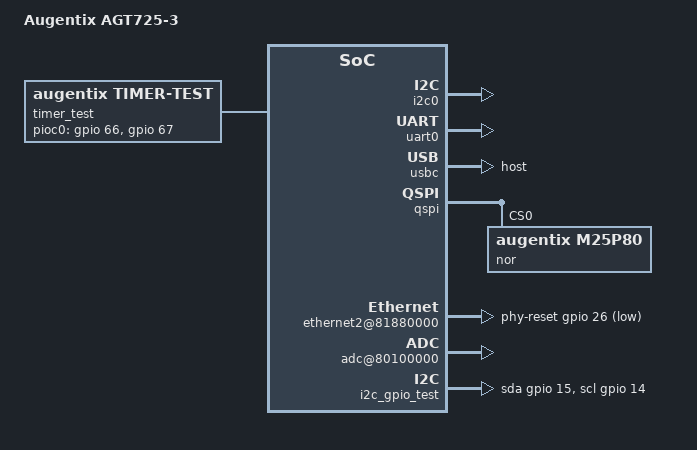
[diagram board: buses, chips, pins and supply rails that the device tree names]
/dts-v1/;
#include "hc1725.dtsi"

/ {
	model = "Augentix AGT725-3";

	augentix_amp: augentix_amp {
		status = "okay";
	};

	soc@80000000 {
		i2c0: i2c@80070000 {
			status = "okay";
		};

		i2c1: i2c@80080000 {
			// status = "okay";
		};

		uart0: uart@80820000 {
			status = "okay";
		};

		sdc0: sdc@818A0000 {
			status = "okay";
		};

		sdc1_p0: sdc1_p0@818C0000 {
			// status = "okay";
		};

		sdc1_p1: sdc1_p1@818C0000 {
			// status = "okay";
		};

		pwm: pwm@80060000 {
			// status = "okay";
		};

		usbc: usbc@A0000000 {
			dr_mode = "host";
			status = "okay";
		};

		usb2_phy: usbphy@0 {
			status = "okay";
		};

		mpp {
			isp@82000000 {
				quality-mode = <0>;
			};

			enc@81001000 {
				bsb-size = <0xC0000 0x40000 0x0 0x0>;
				rd-buf-size = <0x40000>;
				snapshot-size = <0x60000>;
				rd-buf-num = <4>;
			};
		};

		qspi: spi@83610000{
			status = "okay";
			nor@0{
				#address-cells = <1>;
				#size-cells = <1>;
				compatible = "augentix,m25p80", "augentix,spi-nor";
				reg = <0>;
				spi-tx-bus-width = <4>;
				spi-rx-bus-width = <4>;
				m25p,fast-read;
				status = "okay";
			};
		};

		gpio: gpio@80001800 {
			aioc_gpio = <0x0 0x0>;
			pioc0_gpio = <0x0 0x0>;
			pioc1_gpio = <0x0 0x0>;
			pioc2_gpio = <0x0 0x0>;
			mipi_tx_gpio_o_0 = <0x0>;
			status = "okay";
		};

		gpio_test: gpio_test {
			compatible = "augentix,gpio-test";
			aioc-gpios = <&gpio 68 GPIO_ACTIVE_HIGH>;
			pioc0-gpios = <&gpio 0 GPIO_ACTIVE_HIGH>, <&gpio 15 GPIO_ACTIVE_HIGH>, <&gpio 20 GPIO_ACTIVE_HIGH>, <&gpio 25 GPIO_ACTIVE_HIGH>, <&gpio 31 GPIO_ACTIVE_HIGH>;
			pioc1-gpios = <&gpio 32 GPIO_ACTIVE_HIGH>, <&gpio 40 GPIO_ACTIVE_HIGH>, <&gpio 50 GPIO_ACTIVE_HIGH>, <&gpio 55 GPIO_ACTIVE_HIGH>, <&gpio 63 GPIO_ACTIVE_HIGH>;
			pioc2-gpios = <&gpio 64 GPIO_ACTIVE_HIGH>, <&gpio 65 GPIO_ACTIVE_HIGH>, <&gpio 66 GPIO_ACTIVE_HIGH>, <&gpio 67 GPIO_ACTIVE_HIGH>;
			mipitx-gpios = <&gpio 81 GPIO_ACTIVE_HIGH>, <&gpio 84 GPIO_ACTIVE_HIGH>, <&gpio 86 GPIO_ACTIVE_HIGH>, <&gpio 88 GPIO_ACTIVE_HIGH>, <&gpio 90 GPIO_ACTIVE_HIGH>;
			status = "disable";
		};

		clk_test: clk_test {
			compatible = "augentix,clk-test";
			clocks = <&clkc 0>, <&clkc 1>, <&clkc 2>, <&clkc 3>, <&clkc 4>, <&clkc 5>, <&clkc 6>, <&clkc 7>, <&clkc 8>, <&clkc 9>, <&clkc 10>, <&clkc 11>, <&clkc 12>, <&clkc 13>, <&clkc 14>, <&clkc 15>, <&clkc 16>, <&clkc 17>, <&clkc 18>, <&clkc 19>, <&clkc 20>, <&clkc 21>, <&clkc 22>, <&clkc 23>, <&clkc 24>, <&clkc 25>, <&clkc 26>, <&clkc 27>, <&clkc 28>, <&clkc 29>, <&clkc 30>, <&clkc 31>, <&clkc 32>, <&clkc 33>, <&clkc 34>, <&clkc 35>, <&clkc 36>, <&clkc 37>, <&clkc 38>, <&clkc 39>, <&clkc 40>, <&clkc 41>, <&clkc 42>, <&clkc 43>, <&clkc 44>, <&clkc 45>, <&clkc 46>, <&clkc 47>, <&clkc 48>, <&clkc 49>, <&clkc 50>, <&clkc 51>, <&clkc 52>, <&clkc 53>;
			status = "disable";
		};

		ethernet2@81880000 {
			status = "okay";
			phy-reset-gpios = <&gpio 26 GPIO_ACTIVE_HIGH>;
		};

		adc@80100000 {
			status = "okay";
		};

		audio_pcm@80100000 {
			status = "okay";
			audio-output-amp-en-gpios = <&gpio 66 GPIO_ACTIVE_HIGH>;
		};

		audio_machine {
			status = "okay";
		};

		i2c_gpio_test {
			compatible = "i2c-gpio";
			gpios = <&gpio 15 GPIO_ACTIVE_HIGH   /* SDA */
				 &gpio 14 GPIO_ACTIVE_HIGH>; /* SCL */
			#address-cells = <1>;
			#size-cells = <0>;
			status = "okay";
			i2c-gpio,delay-us = <5>; /* ~100 kHz */
		};

		timer_test: timer_test {
			compatible = "augentix,timer-test";
			pioc0-gpios = <&gpio 66 GPIO_ACTIVE_HIGH>, <&gpio 67 GPIO_ACTIVE_HIGH>;
			interrupts = <0 99 4>;
			status = "okay";
		};

	};
};
